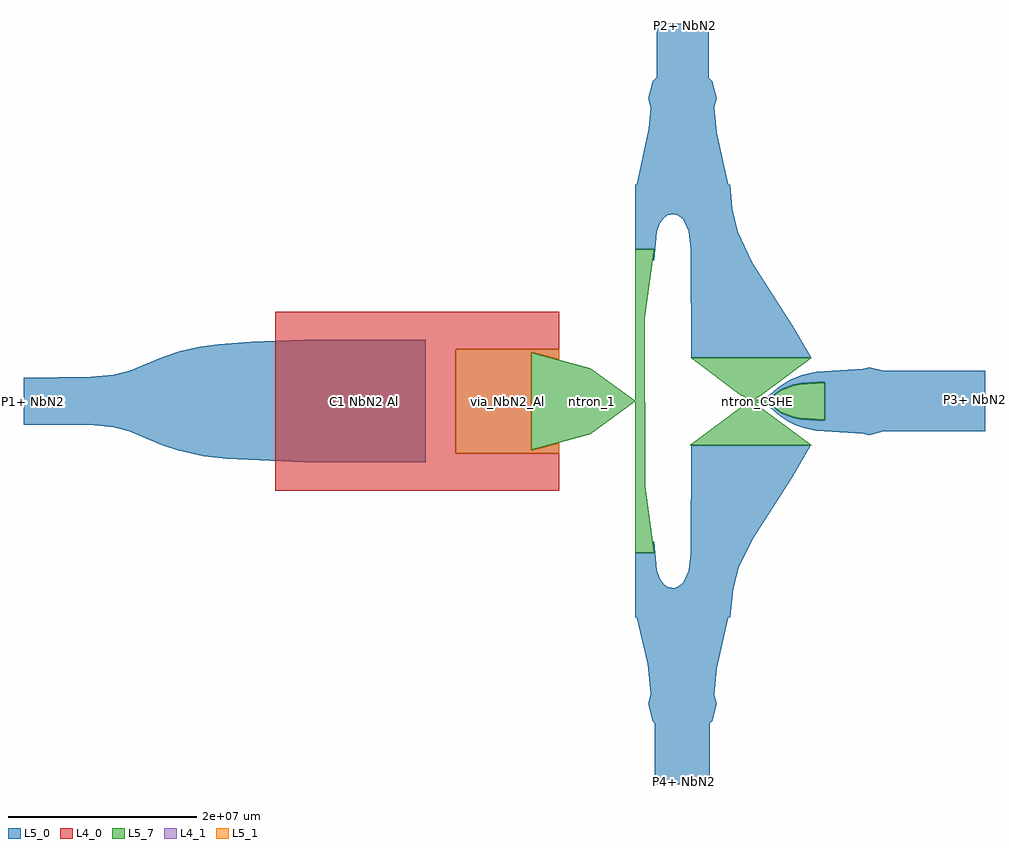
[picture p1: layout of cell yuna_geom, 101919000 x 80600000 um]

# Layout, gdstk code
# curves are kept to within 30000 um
import gdstk
lib = gdstk.Library(unit=1e-6, precision=1e-06)
def P(c, l, *ps):  # polygons
    for p in ps: c.add(gdstk.Polygon(p, *l))
L4_0 = (4, 0)
L4_1 = (4, 1)
L5_0 = (5, 0)
L5_1 = (5, 1)
L5_7 = (5, 7)

yuna_geom = lib.new_cell('yuna_geom')
P(yuna_geom, L4_0, [(-20357000,-5507000),(-31319000,-5507000),(-31319000,5527000),(-20357000,5527000),(-20357000,9492000),(-50479000,9492000),(-50479000,-9493000),(-20357000,-9493000)])
P(yuna_geom, L4_1, [(-20357000,-4399035),(-23346000,-5200000),(-23346000,5200000),(-20357000,4399035),(-20357000,5527000),(-31319000,5527000),(-31319000,-5507000),(-20357000,-5507000)])
P(yuna_geom, L5_0, [(6315000,4689000),(4380000,8067000),(97000,14697000),(-1446000,17988000),(-1988000,20382000),(-2229000,22945000),(-2423000,22945000),(-3652000,28454000),(-3924000,31160500),(-3667000,32120000),(-4152000,33931000),(-4500000,34279500),(-4500000,40000000),(-10000000,40000000),(-10000000,34359000),(-10428000,33931000),(-10913000,32120000),(-10646500,31124000),(-10850000,28883000),(-12145000,22945000),(-12315000,22945000),(-12315000,14945000),(-12286000,16090000),(-10298000,16090000),(-10450330,14945000),(-10287000,14945000),(-10018000,17962000),(-9700000,18850000),(-9280000,19420000),(-8892000,19692000),(-8235000,19825000),(-7774000,19709000),(-7214000,19276000),(-6621000,18000000),(-6385000,16127000),(-6365000,4682000),(-6255680,4600000),(6196333,4600000)],
  [(-34490000,6495000),(-47490000,6495000),(-53014000,6308000),(-56455000,6049000),(-58471000,5766000),(-60579000,5294000),(-62454000,4671000),(-65883000,3233000),(-67594000,2788000),(-69968000,2572000),(-77119000,2508000),(-77119000,-2492000),(-69654000,-2570000),(-67594000,-2772000),(-65931000,-3200000),(-62454000,-4655000),(-60828000,-5207000),(-58067000,-5818000),(-55599000,-6119000),(-47490000,-6458000),(-34490000,-6458000)],
  [(14085500,-3200000),(24800000,-3200000),(24800000,3200000),(14085500,3200000),(12505000,3623000),(11878000,3455000),(6889000,3129000),(5303000,2750000),(4146000,2262000),(3045000,1557000),(1695000,447000),(1128000,259000),(1128000,171104),(1852000,194000),(3215000,1207000),(4438000,1685000),(5269000,1833000),(7783000,1996000),(7783000,-2004000),(5269000,-1841000),(4438000,-1693000),(3215000,-1215000),(1852000,-202000),(1128000,-179104),(1128000,-259000),(1695000,-447000),(3045000,-1557000),(3865000,-2106000),(4728000,-2536000),(5691000,-2868000),(6889000,-3129000),(11878000,-3455000),(12505000,-3623000)],
  [(-4400000,-34169000),(-4152000,-33921000),(-3667000,-32110000),(-3928500,-31132500),(-3652000,-28344000),(-2441000,-22935000),(-2229000,-22935000),(-1915000,-19913000),(-1314000,-17592000),(97000,-14687000),(4380000,-8057000),(6306392,-4700000),(-6365049,-4700000),(-6385000,-16117000),(-6621000,-17990000),(-7214000,-19266000),(-7774000,-19699000),(-8235000,-19815000),(-8892000,-19682000),(-9280000,-19410000),(-9700000,-18840000),(-10018000,-17952000),(-10287000,-14935000),(-10454439,-14935000),(-10298000,-16090000),(-12286000,-16090000),(-12315000,-14935000),(-12315000,-22935000),(-12127000,-22935000),(-10991000,-27921000),(-10641500,-31096000),(-10913000,-32110000),(-10428000,-33921000),(-10200000,-34149000),(-10200000,-40600000),(-4400000,-40600000)])
P(yuna_geom, L5_1, [(-20357000,-4399035),(-23346000,-5200000),(-23346000,5200000),(-20357000,4399035),(-20357000,5527000),(-31319000,5527000),(-31319000,-5507000),(-20357000,-5507000)])
P(yuna_geom, L5_7, [(-904000,550000),(-350000,204000),(-617000,146000),(-617000,-154000),(-350000,-200000),(-538000,-237000),(-6500000,-4700000),(6434000,-4700000),(350000,-154500),(1852000,-202000),(3215000,-1215000),(4438000,-1693000),(5269000,-1841000),(7783000,-2004000),(7783000,1996000),(5269000,1833000),(4438000,1685000),(3215000,1207000),(1852000,194000),(350000,146500),(1005000,550000),(6400000,4600000),(-6400000,4600000),(-1072000,550000)],
  [(-11264000,8829000),(-10298000,16090000),(-12286000,16090000),(-12286000,28000),(-17058000,3515000),(-23346000,5200000),(-23346000,-5200000),(-17058000,-3515000),(-12286000,-28000),(-12286000,-16090000),(-10298000,-16090000),(-11256000,-9017000)])
yuna_geom.add(gdstk.Label('P4+ NbN2', (-7100000,-40300000), layer=64, texttype=0))
yuna_geom.add(gdstk.Label('P3+ NbN2', (24500000,200000), layer=64, texttype=0))
yuna_geom.add(gdstk.Label('P2+ NbN2', (-7000000,39800000), layer=64, texttype=0))
yuna_geom.add(gdstk.Label('P1+ NbN2', (-76800000,0), layer=64, texttype=0))
yuna_geom.add(gdstk.Label('C1 NbN2 Al', (-41000000,0), layer=64, texttype=0))
yuna_geom.add(gdstk.Label('ntron_1', (-16822000,-10), layer=64, texttype=0))
yuna_geom.add(gdstk.Label('ntron_CSHE', (641510,-50000), layer=64, texttype=0))
yuna_geom.add(gdstk.Label('via_NbN2_Al', (-25837990,10000), layer=64, texttype=0))

lib.write_gds('yuna_geom.gds')
